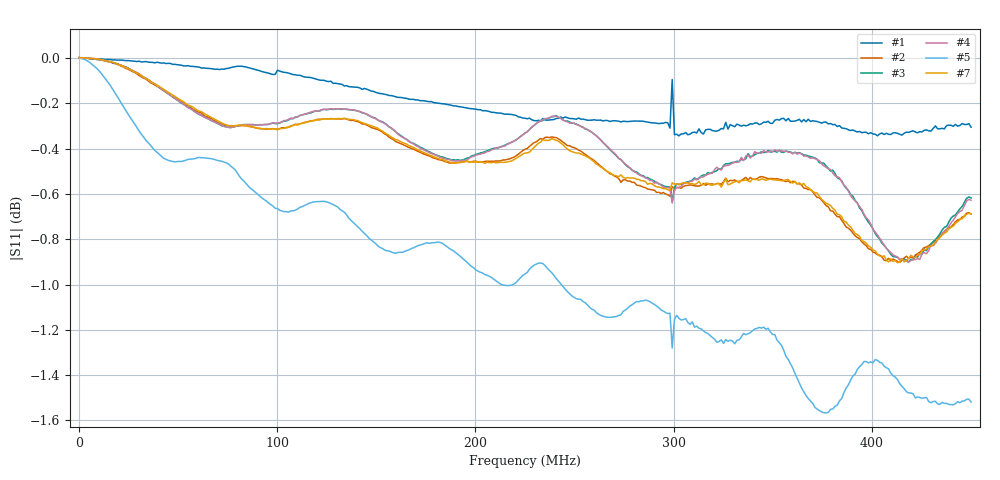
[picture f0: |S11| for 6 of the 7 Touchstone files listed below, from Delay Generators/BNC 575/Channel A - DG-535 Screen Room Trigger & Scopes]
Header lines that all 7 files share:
! NanoVNA-App
! Start: 50kHz Stop: 450MHz Points: 401
! S-Parameter data: F S11
# Hz S RI R 50
!  Frequency  S11_Real  S11_Imag
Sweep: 50 kHz to 450 MHz
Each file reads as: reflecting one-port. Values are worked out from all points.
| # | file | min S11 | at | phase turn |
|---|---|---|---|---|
| 1 | DG-535_Trigger Input.s1p | -0.3 dB | 302.6 MHz | -485 deg |
| 2 | Scope1.s1p | -0.9 dB | 414 MHz | -1494 deg |
| 3 | Scope1_Replacement.s1p | -0.9 dB | 418.5 MHz | -1458 deg |
| 4 | Scope2_Replacement.s1p | -0.9 dB | 418.5 MHz | -1455 deg |
| 5 | Scope3.s1p | -1.6 dB | 376.9 MHz | -2978 deg |
| 6 | Scope3_Replacement.s1p | -0.9 dB | 418.5 MHz | -1455 deg |
| 7 | Tap2.s1p | -0.9 dB | 412.9 MHz | -1496 deg |
